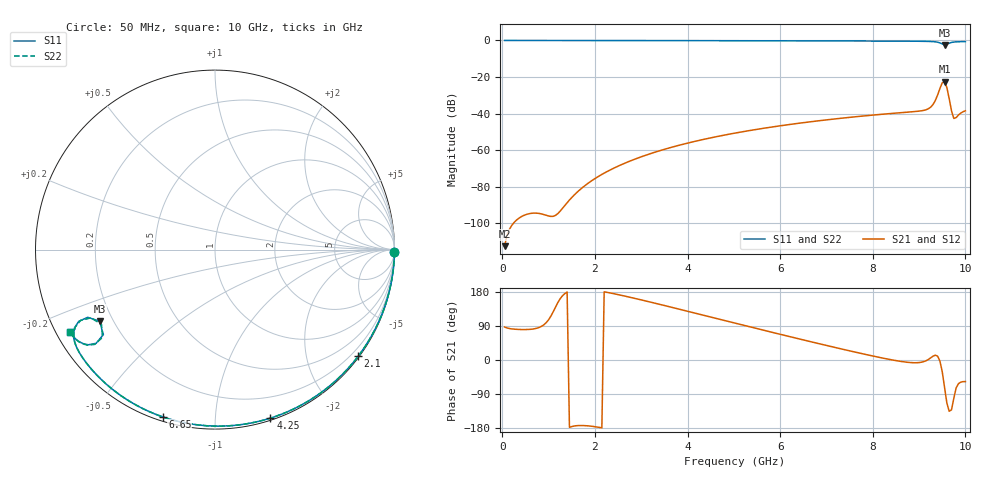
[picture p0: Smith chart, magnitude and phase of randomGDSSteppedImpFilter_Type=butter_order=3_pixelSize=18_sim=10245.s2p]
! freq	dB(S11)	phase(S11)	dB(S12)	phase(S12)
!  dB(S21)	phase(S21)	dB(S22)	phase(S22)
!S-par simulation data
#  GHz  S  DB  R 50
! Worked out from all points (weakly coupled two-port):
!   200 points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, 50 MHz to 10 GHz, reference 50 ohm
!   highest |S21| = -22.48 dB at 9.55 GHz (marker M1); lowest = -112.5 dB at 50 MHz (marker M2)
!   lowest |S11| = -2.4 dB at 9.55 GHz (marker M3), VSWR 7.22, Z = 7.48 - j13.9 ohm
!   |S11| at or under -10 dB: nowhere
!   |S22| runs from -2.4 to 0.0 dB; largest |S21 - S12| = 0
!   S11 on the Smith chart (normalised r, x): 50 MHz: open; 2.1 GHz: 0.03, -3.01; 4.25 GHz: 0.02, -1.38; 6.65 GHz: 0.02, -0.73; 10 GHz: 0.04, -0.26
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0.05  -0.00 -0.9  -112.45 87.1  -112.45 87.1  -0.00 -0.9
0.85  -0.02 -15.1  -94.83 89.1  -94.83 89.1  -0.02 -15.1
1.75  -0.04 -30.7  -80.03 -173.0  -80.03 -173.0  -0.04 -30.7
2.1  -0.05 -36.7  -73.96 -177.9  -73.96 -177.9  -0.05 -36.7
2.7  -0.06 -46.8  -66.51 167.2  -66.51 167.2  -0.06 -46.8
3.4  -0.08 -58.3  -60.26 146.8  -60.26 146.8  -0.08 -58.2
4.25  -0.10 -71.8  -54.62 121.0  -54.62 121.0  -0.10 -71.7
5.05  -0.13 -84.0  -50.52 96.5  -50.52 96.5  -0.13 -84.0
6.65  -0.21 -107.4  -44.46 48.6  -44.46 48.6  -0.21 -107.4
6.7  -0.21 -108.1  -44.31 47.1  -44.31 47.1  -0.21 -108.1
8.35  -0.34 -131.5  -40.01 1.7  -40.01 1.7  -0.34 -131.4
9  -0.43 -141.5  -38.63 -6.8  -38.63 -6.8  -0.43 -141.4
9.2  -0.52 -145.3  -37.35 1.4  -37.35 1.4  -0.53 -145.4
9.3  -0.63 -147.8  -35.05 10.0  -35.05 10.0  -0.65 -147.9
9.35  -0.75 -149.3  -32.87 12.7  -32.87 12.7  -0.78 -149.4
9.4  -0.95 -150.9  -29.84 10.1  -29.84 10.1  -1.01 -151.0
9.5  -1.90 -152.0  -23.17 -30.8  -23.17 -30.8  -2.05 -151.2
9.55  -2.42 -148.2  -22.48 -72.7  -22.48 -72.7  -2.41 -146.6
9.6  -2.14 -142.7  -25.76 -113.7  -25.76 -113.7  -2.00 -142.0
9.7  -1.08 -143.1  -38.45 -131.5  -38.45 -131.5  -1.03 -143.1
9.75  -0.88 -144.6  -42.63 -101.1  -42.63 -101.1  -0.85 -144.7
10  -0.63 -150.4  -38.44 -56.9  -38.44 -56.9  -0.62 -150.4
